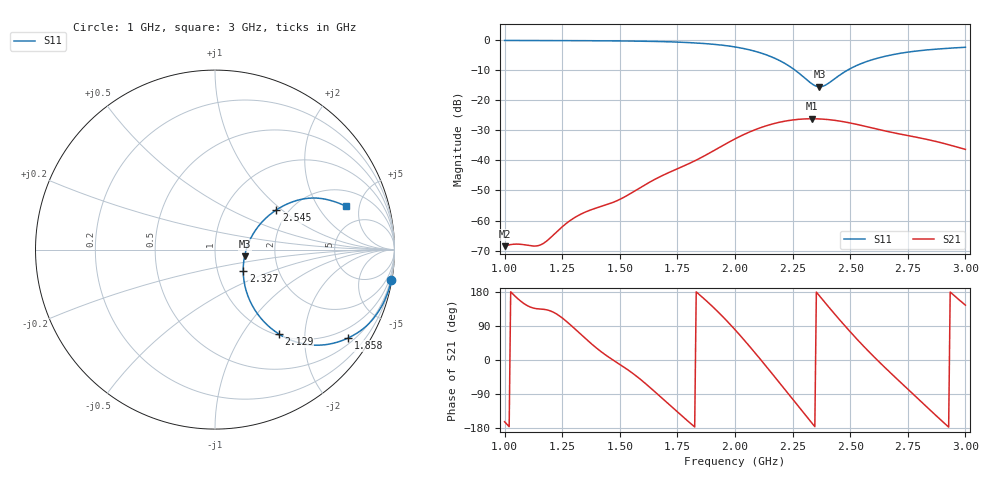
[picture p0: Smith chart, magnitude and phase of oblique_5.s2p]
! TOUCHSTONE file generated by CST MICROWAVE STUDIO
! Date and time: Tue Mar 18 00:00:43 2025
! Project name: oblique.cst
! Parameters = {Tilt=30; Fracture=1; B=10; D=160; F=5; Feed=2.85625; L=100; M=30; R=0.384908; S=1; Theta=180; length=57.125; wave=114.25}
! Header version: 2024
! Port assignment regex: !\s*Touchstone port\s*([0-9]+)\s*=\s*(CST MWS port|CST DES external port|CST DES block port)\s*(.+)\s* \(\"(.*)\"\)(\s*mode\s*([0-9]+))?.*
! Touchstone port assignment:
! Touchstone port 1 = CST MWS port 1 ("")
! Touchstone port 2 = CST MWS port 2 ("")
# GHz S DB R 50
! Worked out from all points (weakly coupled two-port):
!   304 points, 1 GHz to 3 GHz, reference 50 ohm
!   highest |S21| = -26.10 dB at 2.333 GHz (marker M1); lowest = -68.5 dB at 1 GHz (marker M2)
!   lowest |S11| = -15.5 dB at 2.366 GHz (marker M3), VSWR 1.41, Z = 69.5 - j5.19 ohm
!   |S11| at or under -10 dB: 2.262 GHz to 2.486 GHz (224.1 MHz wide, 9.44 % of centre)
!   S12 and S22 are empty: the file has one direction only
!   S11 on the Smith chart (normalised r, x): 1 GHz: 0, -12; 1.858 GHz: 0.67, -3.20; 2.129 GHz: 1.03, -1.47; 2.327 GHz: 1.33, -0.33; 2.545 GHz: 1.73, +0.91; 3 GHz: 3.12, +3.67
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1  -0.02 -9.8  -68.55 -163.0  -200.00 0.0  -200.00 0.0
1.0462  -0.03 -10.4  -67.86 168.0  -200.00 0.0  -200.00 0.0
1.12541  -0.04 -11.6  -68.50 136.9  -200.00 0.0  -200.00 0.0
1.15842  -0.04 -12.1  -68.03 134.3  -200.00 0.0  -200.00 0.0
1.27063  -0.07 -14.0  -60.79 100.8  -200.00 0.0  -200.00 0.0
1.33663  -0.09 -15.2  -57.66 64.5  -200.00 0.0  -200.00 0.0
1.49505  -0.17 -18.9  -53.15 -9.7  -200.00 0.0  -200.00 0.0
1.66667  -0.37 -24.3  -45.71 -91.8  -200.00 0.0  -200.00 0.0
1.85809  -1.00 -33.5  -38.84 165.8  -200.00 0.0  -200.00 0.0
2.0033  -2.22 -43.5  -32.68 77.8  -200.00 0.0  -200.00 0.0
2.12871  -4.62 -52.9  -28.61 -11.8  -200.00 0.0  -200.00 0.0
2.22772  -8.19 -56.5  -26.76 -86.4  -200.00 0.0  -200.00 0.0
2.32673  -14.07 -37.5  -26.11 -161.2  -200.00 0.0  -200.00 0.0
2.33333  -14.44 -34.0  -26.10 -166.1  -200.00 0.0  -200.00 0.0
2.33993  -14.77 -30.2  -26.11 -171.1  -200.00 0.0  -200.00 0.0
2.36634  -15.45 -12.4  -26.16 169.4  -200.00 0.0  -200.00 0.0
2.39934  -14.60 8.9  -26.34 145.2  -200.00 0.0  -200.00 0.0
2.45875  -11.34 28.0  -26.93 102.8  -200.00 0.0  -200.00 0.0
2.54455  -7.82 32.9  -28.25 45.1  -200.00 0.0  -200.00 0.0
2.66997  -4.98 30.0  -30.47 -31.0  -200.00 0.0  -200.00 0.0
2.81518  -3.31 24.1  -32.69 -114.1  -200.00 0.0  -200.00 0.0
3  -2.29 18.3  -36.30 144.7  -200.00 0.0  -200.00 0.0
